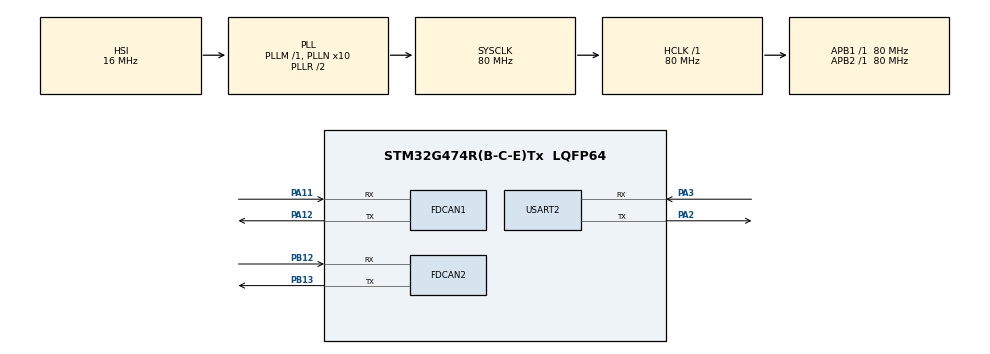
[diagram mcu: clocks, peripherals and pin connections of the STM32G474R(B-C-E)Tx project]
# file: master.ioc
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FDCAN1.CalculateBaudRateNominal=500000
FDCAN1.CalculateTimeBitNominal=2000
FDCAN1.CalculateTimeQuantumNominal=125.0
FDCAN1.NominalPrescaler=10
FDCAN1.NominalTimeSeg1=13
FDCAN2.CalculateBaudRateNominal=500000
FDCAN2.CalculateTimeBitNominal=2000
FDCAN2.CalculateTimeQuantumNominal=125.0
FDCAN2.NominalPrescaler=10
FDCAN2.NominalTimeSeg1=13
Mcu.Family=STM32G4
Mcu.Name=STM32G474R(B-C-E)Tx
Mcu.Package=LQFP64
NVIC.FDCAN1_IT0_IRQn=true\:0\:0\:false\:false\:true\:true\:true\:true
NVIC.FDCAN2_IT0_IRQn=true\:0\:0\:false\:false\:true\:true\:true\:true
NVIC.PriorityGroup=NVIC_PRIORITYGROUP_4
NVIC.TIM6_DAC_IRQn=true\:0\:0\:false\:false\:true\:true\:true\:true
PA11.Mode=FDCAN_Activate
PA11.Signal=FDCAN1_RX
PA12.Mode=FDCAN_Activate
PA12.Signal=FDCAN1_TX
PA2.Mode=Asynchronous
PA2.Signal=USART2_TX
PA3.Mode=Asynchronous
PA3.Signal=USART2_RX
PB12.Mode=FDCAN_Activate
PB12.Signal=FDCAN2_RX
PB13.Mode=FDCAN_Activate
PB13.Signal=FDCAN2_TX
ProjectManager.HeapSize=0x200
ProjectManager.StackSize=0x400
ProjectManager.TargetToolchain=STM32CubeIDE
RCC.ADC12Freq_Value=80000000
RCC.ADC345Freq_Value=80000000
RCC.AHBFreq_Value=80000000
RCC.APB1Freq_Value=80000000
RCC.APB1TimFreq_Value=80000000
RCC.APB2Freq_Value=80000000
RCC.APB2TimFreq_Value=80000000
RCC.CortexFreq_Value=80000000
RCC.EXTERNAL_CLOCK_VALUE=12288000
RCC.HCLKFreq_Value=80000000
RCC.HSE_VALUE=8000000
RCC.HSI48_VALUE=48000000
RCC.HSI_VALUE=16000000
RCC.LSE_VALUE=32768
RCC.PLLN=10
RCC.SYSCLKFreq_VALUE=80000000
RCC.SYSCLKSource=RCC_SYSCLKSOURCE_PLLCLK
RCC.USBFreq_Value=80000000
RCC.VCOOutputFreq_Value=160000000
TIM6.PeriodNoDither=999
TIM6.Prescaler=79
USART2.VirtualMode-Asynchronous=VM_ASYNC
VP_SYS_VS_DBSignals.Mode=DisableDeadBatterySignals
VP_TIM6_VS_ClockSourceINT.Mode=Enable_Timer
board=custom

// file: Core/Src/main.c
/* USER CODE BEGIN Header */
/**
  ******************************************************************************
  * @file           : main.c  [MASTER]
  * @brief          : CANopen ECSS redundancy A↔B + CiA 402 CSP
  ******************************************************************************
  */
/* USER CODE END Header */
#include "main.h"
#include "fdcan.h"
#include "tim.h"
#include "usart.h"
#include "gpio.h"

/* USER CODE BEGIN Includes */
#include "canopen_master.h"
#include "cia402_master.h"
/* USER CODE END Includes */

void SystemClock_Config(void);
/* USER CODE BEGIN PFP */
static void MAIN_LOGF(const char *fmt, ...)
{
    char buf[128];
    va_list ap;
    va_start(ap, fmt);
    vsnprintf(buf, sizeof(buf), fmt, ap);
    va_end(ap);
    HAL_UART_Transmit(&huart2, (uint8_t *)buf,
                      (uint16_t)strlen(buf), 100);
    HAL_UART_Transmit(&huart2, (uint8_t *)"\r\n", 2, 100);
}

static uint32_t len_to_fdcan_dlc(uint8_t len)
{
  switch (len) {
    case 0:  return FDCAN_DLC_BYTES_0;
    case 1:  return FDCAN_DLC_BYTES_1;
    case 2:  return FDCAN_DLC_BYTES_2;
    case 3:  return FDCAN_DLC_BYTES_3;
    case 4:  return FDCAN_DLC_BYTES_4;
    case 5:  return FDCAN_DLC_BYTES_5;
    case 6:  return FDCAN_DLC_BYTES_6;
    case 7:  return FDCAN_DLC_BYTES_7;
    default: return FDCAN_DLC_BYTES_8;
  }
}

static uint8_t fdcan_dlc_to_len(uint32_t dlc)
{
  switch (dlc) {
    case FDCAN_DLC_BYTES_0: return 0;
    case FDCAN_DLC_BYTES_1: return 1;
    case FDCAN_DLC_BYTES_2: return 2;
    case FDCAN_DLC_BYTES_3: return 3;
    case FDCAN_DLC_BYTES_4: return 4;
    case FDCAN_DLC_BYTES_5: return 5;
    case FDCAN_DLC_BYTES_6: return 6;
    case FDCAN_DLC_BYTES_7: return 7;
    case FDCAN_DLC_BYTES_8: return 8;
    default:                return 8;
  }
}

/* USER CODE END PFP */

/* USER CODE BEGIN 0 */
/* ── CAN send / recv ─────────────────────────────────────────────────────── */
static bool my_can_send(uint8_t bus_id, const struct can_msg *msg)
{
    FDCAN_HandleTypeDef *h = (bus_id == CANOPEN_BUS_B_ID) ? &hfdcan2 : &hfdcan1;
    FDCAN_TxHeaderTypeDef th = {0};
    uint8_t data[8] = {0};
    uint8_t len = (msg->len > 8u) ? 8u : (uint8_t)msg->len;
    th.IdType     = ((msg->id & 0x1FFFFFFFu) > 0x7FFu) ? FDCAN_EXTENDED_ID : FDCAN_STANDARD_ID;
    th.Identifier = (uint32_t)(msg->id & ((th.IdType == FDCAN_EXTENDED_ID) ? 0x1FFFFFFFu : 0x7FFu));
    th.TxFrameType        = FDCAN_DATA_FRAME;
    th.DataLength         = len_to_fdcan_dlc(len);
    th.ErrorStateIndicator= FDCAN_ESI_ACTIVE;
    th.BitRateSwitch      = FDCAN_BRS_OFF;
    th.FDFormat           = FDCAN_CLASSIC_CAN;
    th.TxEventFifoControl = FDCAN_NO_TX_EVENTS;
    if ((msg->id & 0x780u) == 0x200u)
    {
        MAIN_LOGF("[MASTER] sending RPDO id=0x%03lX len=%u",
                  (unsigned long)msg->id, msg->len);
    }
    memcpy(data, msg->data, len);
    bool result = HAL_FDCAN_AddMessageToTxFifoQ(h, &th, data) == HAL_OK;
    if ((msg->id & 0x780u) == 0x200u)
    {
        MAIN_LOGF("[MASTER] RPDO send id=0x%03lX len=%u result=%s",
                  (unsigned long)msg->id, msg->len,
                  result ? "OK" : "FAIL");
    }
    return result;
}

static bool my_can_recv(uint8_t bus_id, struct can_msg *msg)
{
    FDCAN_HandleTypeDef *h = (bus_id == CANOPEN_BUS_B_ID) ? &hfdcan2 : &hfdcan1;
    if (HAL_FDCAN_GetRxFifoFillLevel(h, FDCAN_RX_FIFO0) == 0u) return false;
    FDCAN_RxHeaderTypeDef rh;
    uint8_t data[8];
    if (HAL_FDCAN_GetRxMessage(h, FDCAN_RX_FIFO0, &rh, data) != HAL_OK) return false;
    memset(msg, 0, sizeof(*msg));
    msg->id  = (rh.IdType == FDCAN_EXTENDED_ID)
               ? (uint_least32_t)(rh.Identifier & 0x1FFFFFFFu)
               : (uint_least32_t)(rh.Identifier & 0x7FFu);
    msg->len = fdcan_dlc_to_len(rh.DataLength);
    if (msg->len > 8u) msg->len = 8u;
    memcpy(msg->data, data, msg->len);
    return true;
}

static void my_get_time(struct timespec *tp)
{
    if (!tp) return;
    uint32_t ms = HAL_GetTick();
    tp->tv_sec  = (time_t)(ms / 1000u);
    tp->tv_nsec = (long)((ms % 1000u) * 1000000L);
}
static void app_on_sync   (uint8_t cnt)
{
	cia402_master_on_sync(cnt);
}

static void app_on_running(void)
{
	cia402_master_on_running();
}

static void app_on_stopped(void)
{
	cia402_master_on_stopped();
}

static void app_on_rpdo   (uint16_t sw, int32_t actual_pos)
{
	cia402_master_on_rpdo(sw, actual_pos);
}

/* USER CODE END 0 */

int main(void)
{

  /* MCU Configuration--------------------------------------------------------*/

  /* Reset of all peripherals, Initializes the Flash interface and the Systick. */
  HAL_Init();

  /* Configure the system clock */
  SystemClock_Config();

  /* Initialize all configured peripherals */
  MX_GPIO_Init();
  MX_FDCAN1_Init();
  MX_FDCAN2_Init();
  MX_USART2_UART_Init();
  MX_TIM6_Init();
  /* USER CODE BEGIN 2 */
  assert(HAL_FDCAN_Start(&hfdcan1) == HAL_OK);
  assert(HAL_FDCAN_Start(&hfdcan2) == HAL_OK);
  HAL_TIM_Base_Start_IT(&htim6);

  canopen_config cfg = {
      .send = my_can_send,
      .recv = my_can_recv,
      .time = my_get_time,
      .on_sync    = app_on_sync,
      .on_running = app_on_running,
      .on_stopped = app_on_stopped,
      .on_rpdo    = app_on_rpdo,
  };
  assert(canopen_init(cfg) == CANOPEN_OK);
  cia402_master_init(canopen.dev, canopen.csdo);

  static const int32_t positions[] = { 0, 1000, -1000, 500, -500 };
  static uint8_t       pos_idx     = 0u;
  static uint32_t      last_tick   = 0u;
  /* USER CODE END 2 */

  /* Infinite loop */
  while (1)
  {

    /* USER CODE BEGIN 3 */
	     uint32_t now1 = HAL_GetTick();
	        if (now1 - last_tick >= 3000u &&
	            cia402_master.state == CIA402_M_RUNNING)
	        {
	            last_tick = now1;
	            pos_idx   = (pos_idx + 1u) % 5u;
	            cia402_master_set_target(positions[pos_idx]);
	        }

      canopen_process();
      HAL_Delay(1);

  }
  /* USER CODE END 3 */
}

void SystemClock_Config(void)
{
  RCC_OscInitTypeDef RCC_OscInitStruct = {0};
  RCC_ClkInitTypeDef RCC_ClkInitStruct = {0};

  /** Configure the main internal regulator output voltage
  */
  HAL_PWREx_ControlVoltageScaling(PWR_REGULATOR_VOLTAGE_SCALE1);

  /** Initializes the RCC Oscillators according to the specified parameters
  * in the RCC_OscInitTypeDef structure.
  */
  RCC_OscInitStruct.OscillatorType = RCC_OSCILLATORTYPE_HSI;
  RCC_OscInitStruct.HSIState = RCC_HSI_ON;
  RCC_OscInitStruct.HSICalibrationValue = RCC_HSICALIBRATION_DEFAULT;
  RCC_OscInitStruct.PLL.PLLState = RCC_PLL_ON;
  RCC_OscInitStruct.PLL.PLLSource = RCC_PLLSOURCE_HSI;
  RCC_OscInitStruct.PLL.PLLM = RCC_PLLM_DIV1;
  RCC_OscInitStruct.PLL.PLLN = 10;
  RCC_OscInitStruct.PLL.PLLP = RCC_PLLP_DIV2;
  RCC_OscInitStruct.PLL.PLLQ = RCC_PLLQ_DIV2;
  RCC_OscInitStruct.PLL.PLLR = RCC_PLLR_DIV2;
  if (HAL_RCC_OscConfig(&RCC_OscInitStruct) != HAL_OK)
  {
    Error_Handler();
  }

  /** Initializes the CPU, AHB and APB buses clocks
  */
  RCC_ClkInitStruct.ClockType = RCC_CLOCKTYPE_HCLK|RCC_CLOCKTYPE_SYSCLK
                              |RCC_CLOCKTYPE_PCLK1|RCC_CLOCKTYPE_PCLK2;
  RCC_ClkInitStruct.SYSCLKSource = RCC_SYSCLKSOURCE_PLLCLK;
  RCC_ClkInitStruct.AHBCLKDivider = RCC_SYSCLK_DIV1;
  RCC_ClkInitStruct.APB1CLKDivider = RCC_HCLK_DIV1;
  RCC_ClkInitStruct.APB2CLKDivider = RCC_HCLK_DIV1;

  if (HAL_RCC_ClockConfig(&RCC_ClkInitStruct, FLASH_LATENCY_2) != HAL_OK)
  {
    Error_Handler();
  }
}

/* USER CODE BEGIN 4 */
void HAL_TIM_PeriodElapsedCallback(TIM_HandleTypeDef *htim)
{
#if RPDO_FLOOD_TEST_ENABLE
    if (htim->Instance == TIM6)
    {
        struct can_msg sync = {0};
        sync.id  = 0x080u;
        sync.len = 0u;
        canopen.cfg.send(canopen.bus_id, &sync);
    }
#endif
#if SDO_PDO_COMBINED_TEST_ENABLE
    if (htim->Instance == TIM6)
    {
        struct can_msg sync = {0};
        sync.id  = 0x080u;
        sync.len = 0u;
        canopen.cfg.send(canopen.bus_id, &sync);
    }
#endif
}
/* USER CODE END 4 */

void Error_Handler(void)
{
  __disable_irq();
  while (1)
  {
  }
}
